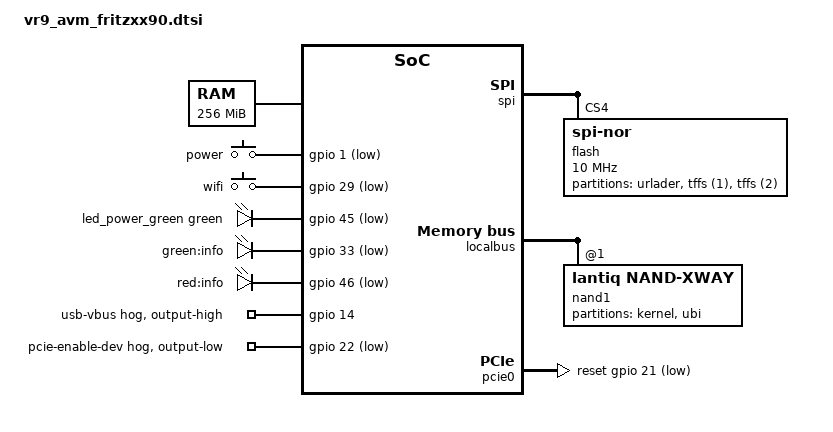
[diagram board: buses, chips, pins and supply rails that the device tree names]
// SPDX-License-Identifier: GPL-2.0-or-later OR MIT

#include "vr9.dtsi"

#include <dt-bindings/input/input.h>
#include <dt-bindings/leds/common.h>
#include <dt-bindings/mips/lantiq_rcu_gphy.h>

/ {
	chosen {
		bootargs = "console=ttyLTQ0,115200";
	};

	memory@0 {
		device_type = "memory";
		reg = <0x0 0x10000000>;
	};

	aliases: aliases {
		led-boot = &led_power_green;
		led-failsafe = &led_info_red;
		led-running = &led_power_green;
		led-upgrade = &led_info_red;
	};

	keys {
		compatible = "gpio-keys-polled";
		poll-interval = <100>;

		power {
			label = "power";
			gpios = <&gpio 1 GPIO_ACTIVE_LOW>;
			linux,code = <KEY_POWER>;
		};

		wifi {
			label = "wifi";
			gpios = <&gpio 29 GPIO_ACTIVE_LOW>;
			linux,code = <KEY_RFKILL>;
		};
	};

	leds: leds {
		compatible = "gpio-leds";

		led_power_green: power_green {
			function = LED_FUNCTION_POWER;
			color = <LED_COLOR_ID_GREEN>;
			gpios = <&gpio 45 GPIO_ACTIVE_LOW>;
			default-state = "keep";
		};

		led_info_green: info_green {
			label = "green:info";
			gpios = <&gpio 33 GPIO_ACTIVE_LOW>;
		};

		led_info_red: info_red {
			label = "red:info";
			gpios = <&gpio 46 GPIO_ACTIVE_LOW>;
		};
	};
};

&gphy0 {
	lantiq,gphy-mode = <GPHY_MODE_GE>;
};

&gphy1 {
	lantiq,gphy-mode = <GPHY_MODE_GE>;
};

&gpio {
	pinctrl-names = "default";
	pinctrl-0 = <&state_default>;
	gpio-ranges = <&gpio 0 0 56>;

	state_default: pinmux {
		phy-rst {
			lantiq,pins = "io32", "io44";
			lantiq,pull = <0>;
			lantiq,open-drain;
			lantiq,output = <1>;
		};

		pcie-rst {
			lantiq,pins = "io21";
			lantiq,open-drain;
			lantiq,output = <1>;
		};
	};

	usb-vbus {
		gpio-hog;
		line-name = "usb-vbus";
		gpios = <14 GPIO_ACTIVE_HIGH>;
		output-high;
	};

	pcie-enable-dev {
		gpio-hog;
		line-name = "pcie-enable-dev";
		gpios = <22 GPIO_ACTIVE_LOW>;
		output-low;
	};
};

&gswip {
	pinctrl-0 = <&mdio_pins>;
	pinctrl-names = "default";
};

&spi {
	status = "okay";

	flash@4 {
		compatible = "jedec,spi-nor";
		reg = <4>;
		spi-max-frequency = <10000000>;

		partitions {
			compatible = "fixed-partitions";
			#address-cells = <1>;
			#size-cells = <1>;

			urlader: partition@0 {
				reg = <0x0 0x40000>;
				label = "urlader";
				read-only;
			};

			partition@40000 {
				reg = <0x40000 0x60000>;
				label = "tffs (1)";
				read-only;
			};

			partition@a0000 {
				reg = <0xa0000 0x60000>;
				label = "tffs (2)";
				read-only;
			};
		};
	};
};

&localbus {
	nand1: nand@1 {
		compatible = "lantiq,nand-xway";
		bank-width = <2>;
		reg = <0x1 0x0 0x2000000>;

		partitions {
			compatible = "fixed-partitions";
			#address-cells = <1>;
			#size-cells = <1>;

			partition@0 {
				label = "kernel";
				reg = <0x0 0x400000>;
			};

			partition@400000 {
				label = "ubi";
				reg = <0x400000 0x1fc00000>;
			};
		};
	};
};

&pcie0 {
	status = "okay";

	reset-gpios = <&gpio 21 GPIO_ACTIVE_LOW>;
	lantiq,switch-pcie-endianess;
};
